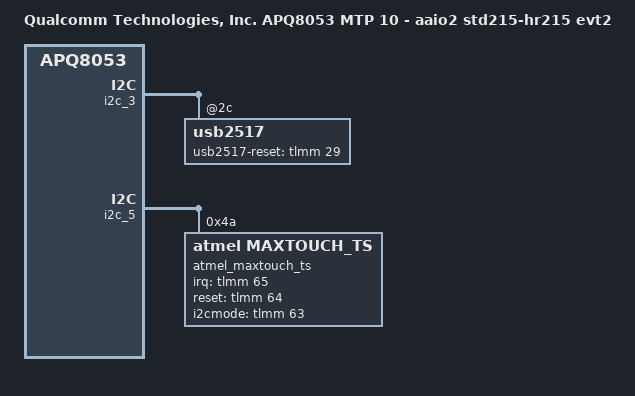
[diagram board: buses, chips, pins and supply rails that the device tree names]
/*
 * Copyright (c) 2015-2016, The Linux Foundation. All rights reserved.
 *
 * This program is free software; you can redistribute it and/or modify
 * it under the terms of the GNU General Public License version 2 and
 * only version 2 as published by the Free Software Foundation.
 *
 * This program is distributed in the hope that it will be useful,
 * but WITHOUT ANY WARRANTY; without even the implied warranty of
 * MERCHANTABILITY or FITNESS FOR A PARTICULAR PURPOSE.  See the
 * GNU General Public License for more details.
 */

/dts-v1/;

#include "apq8053.dtsi"
#include "msm8953-mtp.dtsi"
#include "apq8053-oem.dtsi"
#include "apq8053-mtp-lvds-hdmi.dtsi"//Leo Guo add to support all panel in one image
#include "apq8053-mtp-aaio2.dtsi"

/ {
	model = "Qualcomm Technologies, Inc. APQ8053 MTP 10 - aaio2 std215-hr215 evt2";
	compatible = "qcom,apq8053-mtp", "qcom,apq8053", "qcom,mtp";
	qcom,board-id= <0x00640208 0>;
};

&dsi_sn65dsi85_1080p {
	qcom,panel-supply-entries = <&dsi_panel_pwr_supply>;
};

&mdss_dsi0 {
	qcom,dsi-pref-prim-pan = <&dsi_sn65dsi85_1080p>;
};

&i2c_3 {
	/* Internal USB2.0 hub reset */
	usb2517@2c {
		qcom,usb2517-reset-gpio = <&tlmm 29 0>;
	};
};

/* Atmel touch - evt2 wiring, on i2c_5 */
&i2c_5 {
	atmel_maxtouch_ts@4A {
		compatible = "atmel,maxtouch_ts";
		reg = <0x4A>;
		interrupt-parent = <&tlmm>;
		interrupts = <65 0x0>;
		atmel,display-coords = <0 0 1920 1080>;
		atmel,panel-coords = <0 0 1920 1080>;
		atmel,irq-gpio= <&tlmm 65 0x00>;
		atmel,reset-gpio= <&tlmm 64 0x00>;
		atmel,i2cmode-gpio = <&tlmm 63 0>;
		atmel,ignore-crc;
		atmel,no-force-update;
		pinctrl-names = "pmx_ts_active","pmx_ts_suspend","pmx_ts_i2cmode_active";
		pinctrl-0 = <&ts_int_active &ts_reset2_active &ts_i2cmode_active>;
		pinctrl-1 = <&ts_int_suspend &ts_reset2_suspend &ts_i2cmode_suspend>;
	};
};
